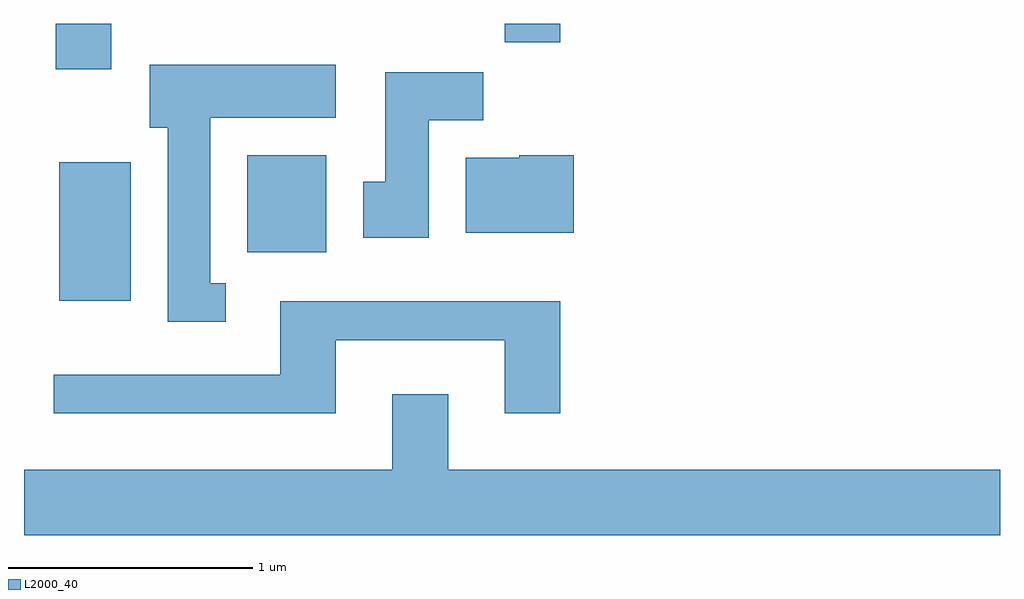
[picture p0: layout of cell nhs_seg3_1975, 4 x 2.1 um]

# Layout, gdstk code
import gdstk
lib = gdstk.Library(unit=1e-6, precision=1e-09)
def R(c, l, rs):  # rectangles x0, y0, x1, y1
    for r in rs: c.add(gdstk.rectangle(r[:2], r[2:], *l))
def P(c, l, *ps):  # polygons
    for p in ps: c.add(gdstk.Polygon(p, *l))
L2000_40 = (2000, 40)

nhs_seg3_1975 = lib.new_cell('nhs_seg3_1975')
R(nhs_seg3_1975, L2000_40, [(243.756,1124.756,244.049,1125.324), (244.526,1124.956,244.849,1125.354), (243.741,1125.706,243.969,1125.892), (245.581,1125.816,245.809,1125.892)])
P(nhs_seg3_1975, L2000_40, [(244.438,1124.829),(244.374,1124.829),(244.374,1125.506),(244.889,1125.506),(244.889,1125.724),(244.126,1125.724),(244.126,1125.466),(244.201,1125.466),(244.201,1124.671),(244.438,1124.671)],
  [(245.269,1125.496),(245.494,1125.496),(245.494,1125.694),(245.091,1125.694),(245.091,1125.244),(245.001,1125.244),(245.001,1125.016),(245.269,1125.016)],
  [(245.864,1125.354),(245.64,1125.354),(245.64,1125.344),(245.421,1125.344),(245.421,1125.036),(245.864,1125.036)],
  [(244.889,1124.596),(245.581,1124.596),(245.581,1124.296),(245.809,1124.296),(245.809,1124.754),(244.661,1124.754),(244.661,1124.454),(243.733,1124.454),(243.733,1124.296),(244.889,1124.296)],
  [(247.611,1124.064),(245.349,1124.064),(245.349,1124.374),(245.121,1124.374),(245.121,1124.064),(243.611,1124.064),(243.611,1123.796),(247.611,1123.796)])

lib.write_gds('nhs_seg3_1975.gds')
